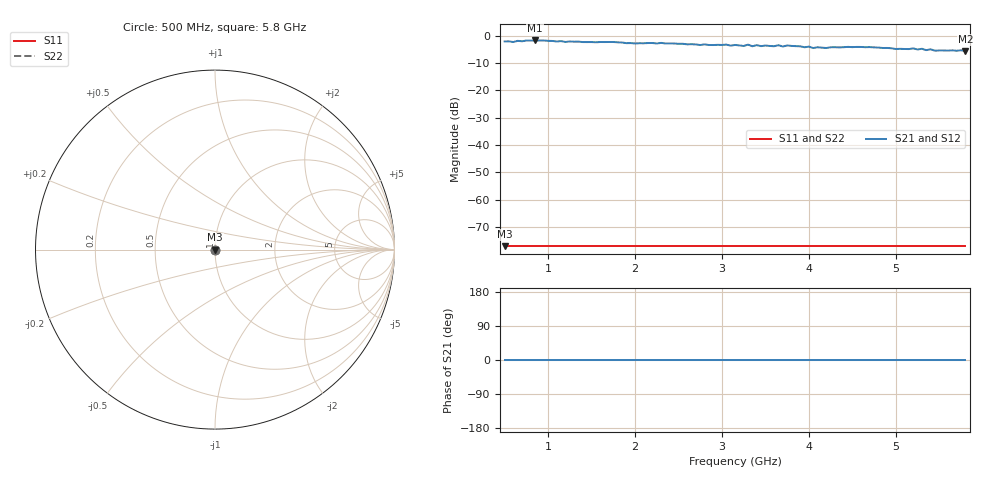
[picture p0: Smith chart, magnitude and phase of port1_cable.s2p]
# GHZ S RI R 50
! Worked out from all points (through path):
!   107 points, 500 MHz to 5.8 GHz, reference 50 ohm
!   highest |S21| = -1.78 dB at 850 MHz (marker M1); lowest = -5.7 dB at 5.8 GHz (marker M2)
!   lowest |S11| = -77.0 dB at 500 MHz (marker M3), VSWR 1.00, Z = 50 + j0.01 ohm
!   |S11| at or under -10 dB: start of sweep to end of sweep
!   |S22| runs from -77.0 to -77.0 dB; largest |S21 - S12| = 0
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0.5  0.0001 0.0001  0.7821 0  0.7821 0  0.0001 0.0001
0.6  0.0001 0.0001  0.7627 0  0.7627 0  0.0001 0.0001
0.65  0.0001 0.0001  0.8017 0  0.8017 0  0.0001 0.0001
0.85  0.0001 0.0001  0.8149 0  0.8149 0  0.0001 0.0001
1.4  0.0001 0.0001  0.7616 0  0.7616 0  0.0001 0.0001
1.75  0.0001 0.0001  0.7632 0  0.7632 0  0.0001 0.0001
2  0.0001 0.0001  0.7189 0  0.7189 0  0.0001 0.0001
2.3  0.0001 0.0001  0.7354 0  0.7354 0  0.0001 0.0001
2.75  0.0001 0.0001  0.672 0  0.672 0  0.0001 0.0001
3.15  0.0001 0.0001  0.6745 0  0.6745 0  0.0001 0.0001
3.25  0.0001 0.0001  0.6455 0  0.6455 0  0.0001 0.0001
3.3  0.0001 0.0001  0.6833 0  0.6833 0  0.0001 0.0001
3.35  0.0001 0.0001  0.6385 0  0.6385 0  0.0001 0.0001
3.4  0.0001 0.0001  0.669 0  0.669 0  0.0001 0.0001
3.6  0.0001 0.0001  0.6392 0  0.6392 0  0.0001 0.0001
3.65  0.0001 0.0001  0.6674 0  0.6674 0  0.0001 0.0001
3.7  0.0001 0.0001  0.6308 0  0.6308 0  0.0001 0.0001
3.75  0.0001 0.0001  0.66 0  0.66 0  0.0001 0.0001
4.05  0.0001 0.0001  0.592 0  0.592 0  0.0001 0.0001
4.45  0.0001 0.0001  0.6222 0  0.6222 0  0.0001 0.0001
4.95  0.0001 0.0001  0.5867 0  0.5867 0  0.0001 0.0001
5.8  0.0001 0.0001  0.5197 0  0.5197 0  0.0001 0.0001
